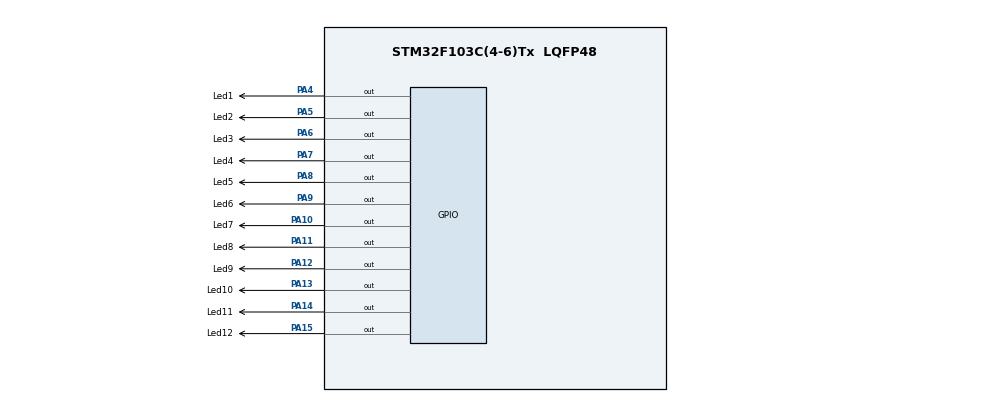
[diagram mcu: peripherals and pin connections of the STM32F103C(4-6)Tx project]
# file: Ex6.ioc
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Mcu.Family=STM32F1
Mcu.Name=STM32F103C(4-6)Tx
Mcu.Package=LQFP48
NVIC.PriorityGroup=NVIC_PRIORITYGROUP_4
PA10.GPIO_Label=Led7
PA10.Signal=GPIO_Output
PA11.GPIO_Label=Led8
PA11.Signal=GPIO_Output
PA12.GPIO_Label=Led9
PA12.Signal=GPIO_Output
PA13.GPIO_Label=Led10
PA13.Signal=GPIO_Output
PA14.GPIO_Label=Led11
PA14.Signal=GPIO_Output
PA15.GPIO_Label=Led12
PA15.Signal=GPIO_Output
PA4.GPIO_Label=Led1
PA4.Signal=GPIO_Output
PA5.GPIO_Label=Led2
PA5.Signal=GPIO_Output
PA6.GPIO_Label=Led3
PA6.Signal=GPIO_Output
PA7.GPIO_Label=Led4
PA7.Signal=GPIO_Output
PA8.GPIO_Label=Led5
PA8.Signal=GPIO_Output
PA9.GPIO_Label=Led6
PA9.Signal=GPIO_Output
ProjectManager.HeapSize=0x200
ProjectManager.StackSize=0x400
ProjectManager.TargetToolchain=STM32CubeIDE
RCC.APB1Freq_Value=8000000
RCC.APB2Freq_Value=8000000
VP_SYS_VS_ND.Mode=No_Debug
board=custom

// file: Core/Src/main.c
/* USER CODE BEGIN Header */
/**
  ******************************************************************************
  * @file           : main.c
  * @brief          : Main program body
  ******************************************************************************
  * @attention
  *
  * <h2><center>&copy; Copyright (c) 2023 STMicroelectronics.
  * All rights reserved.</center></h2>
  *
  * This software component is licensed by ST under BSD 3-Clause license,
  * the "License"; You may not use this file except in compliance with the
  * License. You may obtain a copy of the License at:
  *                        opensource.org/licenses/BSD-3-Clause
  *
  ******************************************************************************
  */
/* USER CODE END Header */
#include "main.h"

void SystemClock_Config(void);
static void MX_GPIO_Init(void);

/* USER CODE BEGIN 0 */
void clearAllClock(void){
	HAL_GPIO_WritePin(Led1_GPIO_Port, Led1_Pin, RESET);
	HAL_GPIO_WritePin(Led2_GPIO_Port, Led2_Pin, RESET);
	HAL_GPIO_WritePin(Led3_GPIO_Port, Led3_Pin, RESET);
	HAL_GPIO_WritePin(Led4_GPIO_Port, Led4_Pin, RESET);
	HAL_GPIO_WritePin(Led5_GPIO_Port, Led5_Pin, RESET);
	HAL_GPIO_WritePin(Led6_GPIO_Port, Led6_Pin, RESET);
	HAL_GPIO_WritePin(Led7_GPIO_Port, Led7_Pin, RESET);
	HAL_GPIO_WritePin(Led8_GPIO_Port, Led8_Pin, RESET);
	HAL_GPIO_WritePin(Led9_GPIO_Port, Led9_Pin, RESET);
	HAL_GPIO_WritePin(Led10_GPIO_Port, Led10_Pin, RESET);
	HAL_GPIO_WritePin(Led11_GPIO_Port, Led11_Pin, RESET);
	HAL_GPIO_WritePin(Led12_GPIO_Port, Led12_Pin, RESET);
}
void LedTesting(void){
	clearAllClock();
	HAL_Delay(1000);
	HAL_GPIO_WritePin(Led12_GPIO_Port, Led12_Pin, SET);
	HAL_Delay(400);
	HAL_GPIO_WritePin(Led1_GPIO_Port, Led1_Pin, SET);
	HAL_Delay(400);
	HAL_GPIO_WritePin(Led2_GPIO_Port, Led2_Pin, SET);
	HAL_Delay(400);
	HAL_GPIO_WritePin(Led3_GPIO_Port, Led3_Pin, SET);
	HAL_Delay(400);
	HAL_GPIO_WritePin(Led4_GPIO_Port, Led4_Pin, SET);
	HAL_Delay(400);
	HAL_GPIO_WritePin(Led5_GPIO_Port, Led5_Pin, SET);
	HAL_Delay(400);
	HAL_GPIO_WritePin(Led6_GPIO_Port, Led6_Pin, SET);
	HAL_Delay(400);
	HAL_GPIO_WritePin(Led7_GPIO_Port, Led7_Pin, SET);
	HAL_Delay(400);
	HAL_GPIO_WritePin(Led8_GPIO_Port, Led8_Pin, SET);
	HAL_Delay(400);
	HAL_GPIO_WritePin(Led9_GPIO_Port, Led9_Pin, SET);
	HAL_Delay(400);
	HAL_GPIO_WritePin(Led10_GPIO_Port, Led10_Pin, SET);
	HAL_Delay(400);
	HAL_GPIO_WritePin(Led11_GPIO_Port, Led11_Pin, SET);
	HAL_Delay(1000);
}
void setNumberOnClock(int num){
	if(num == 1){
		HAL_GPIO_WritePin(Led1_GPIO_Port, Led1_Pin, SET);
	}
	if (num == 2){
		HAL_GPIO_WritePin(Led2_GPIO_Port, Led2_Pin, SET);
	}
	if (num ==3){
		HAL_GPIO_WritePin(Led3_GPIO_Port, Led3_Pin, SET);
	}
	if (num ==4){
		HAL_GPIO_WritePin(Led4_GPIO_Port, Led4_Pin, SET);
	}
	if (num ==5){
		HAL_GPIO_WritePin(Led5_GPIO_Port, Led5_Pin, SET);
	}
	if (num ==6){
		HAL_GPIO_WritePin(Led6_GPIO_Port, Led6_Pin, SET);
	}
	if (num ==7){
		HAL_GPIO_WritePin(Led7_GPIO_Port, Led7_Pin, SET);
	}
	if (num ==8){
		HAL_GPIO_WritePin(Led8_GPIO_Port, Led8_Pin, SET);
	}
	if (num ==9){
		HAL_GPIO_WritePin(Led9_GPIO_Port, Led9_Pin, SET);
	}
	if (num ==10){
		HAL_GPIO_WritePin(Led10_GPIO_Port, Led10_Pin, SET);
	}
	if (num ==11){
		HAL_GPIO_WritePin(Led11_GPIO_Port, Led11_Pin, SET);
	}
	if (num <= 0) {
		HAL_GPIO_WritePin(Led12_GPIO_Port, Led12_Pin, SET);
	}
	if (num >= 12) {
		HAL_GPIO_WritePin(Led12_GPIO_Port, Led12_Pin, SET);
	}
}

void clearNumberOnClock(int num){
	if(num == 1){
		HAL_GPIO_WritePin(Led1_GPIO_Port, Led1_Pin, RESET);
	}
	if (num ==2){
		HAL_GPIO_WritePin(Led2_GPIO_Port, Led2_Pin, RESET);
	}
	if (num ==3){
		HAL_GPIO_WritePin(Led3_GPIO_Port, Led3_Pin, RESET);
	}
	if (num ==4){
		HAL_GPIO_WritePin(Led4_GPIO_Port, Led4_Pin, RESET);
	}
	if (num ==5){
		HAL_GPIO_WritePin(Led5_GPIO_Port, Led5_Pin, RESET);
	}
	if (num ==6){
		HAL_GPIO_WritePin(Led6_GPIO_Port, Led6_Pin, RESET);
	}
	if (num ==7){
		HAL_GPIO_WritePin(Led7_GPIO_Port, Led7_Pin, RESET);
	}
	if (num ==8){
		HAL_GPIO_WritePin(Led8_GPIO_Port, Led8_Pin, RESET);
	}
	if (num ==9){
		HAL_GPIO_WritePin(Led9_GPIO_Port, Led9_Pin, RESET);
	}
	if (num ==10){
		HAL_GPIO_WritePin(Led10_GPIO_Port, Led10_Pin, RESET);
	}
	if (num ==11){
		HAL_GPIO_WritePin(Led11_GPIO_Port, Led11_Pin, RESET);
	}
	if (num <=0){
		HAL_GPIO_WritePin(Led12_GPIO_Port, Led12_Pin, RESET);
	}
	if(num >= 12){
		HAL_GPIO_WritePin(Led12_GPIO_Port, Led12_Pin, RESET);
	}
}
/* USER CODE END 0 */

int main(void)
{

  /* MCU Configuration--------------------------------------------------------*/

  /* Reset of all peripherals, Initializes the Flash interface and the Systick. */
  HAL_Init();

  /* Configure the system clock */
  SystemClock_Config();

  /* Initialize all configured peripherals */
  MX_GPIO_Init();

  /* Infinite loop */
  /* USER CODE BEGIN WHILE */
  int sec=0;
  int min=0;
  int hr=0;

  while (1)
  {
	  if(sec >= 60){
		  min++;
		  sec=0;
	  }
	  if(min >= 60){
		  hr++;
		  min=0;
	  }
	  if(hr > 11){
		  hr=0;
	  }
	  clearAllClock();
	  setNumberOnClock(sec/5);
	  setNumberOnClock(min/5);
	  setNumberOnClock(hr);
	  sec++;
	  HAL_Delay(1000);
    /* USER CODE END WHILE */

  }
}

void SystemClock_Config(void)
{
  RCC_OscInitTypeDef RCC_OscInitStruct = {0};
  RCC_ClkInitTypeDef RCC_ClkInitStruct = {0};

  /** Initializes the RCC Oscillators according to the specified parameters
  * in the RCC_OscInitTypeDef structure.
  */
  RCC_OscInitStruct.OscillatorType = RCC_OSCILLATORTYPE_HSI;
  RCC_OscInitStruct.HSIState = RCC_HSI_ON;
  RCC_OscInitStruct.HSICalibrationValue = RCC_HSICALIBRATION_DEFAULT;
  RCC_OscInitStruct.PLL.PLLState = RCC_PLL_NONE;
  if (HAL_RCC_OscConfig(&RCC_OscInitStruct) != HAL_OK)
  {
    Error_Handler();
  }
  /** Initializes the CPU, AHB and APB buses clocks
  */
  RCC_ClkInitStruct.ClockType = RCC_CLOCKTYPE_HCLK|RCC_CLOCKTYPE_SYSCLK
                              |RCC_CLOCKTYPE_PCLK1|RCC_CLOCKTYPE_PCLK2;
  RCC_ClkInitStruct.SYSCLKSource = RCC_SYSCLKSOURCE_HSI;
  RCC_ClkInitStruct.AHBCLKDivider = RCC_SYSCLK_DIV1;
  RCC_ClkInitStruct.APB1CLKDivider = RCC_HCLK_DIV1;
  RCC_ClkInitStruct.APB2CLKDivider = RCC_HCLK_DIV1;

  if (HAL_RCC_ClockConfig(&RCC_ClkInitStruct, FLASH_LATENCY_0) != HAL_OK)
  {
    Error_Handler();
  }
}

static void MX_GPIO_Init(void)
{
  GPIO_InitTypeDef GPIO_InitStruct = {0};

  /* GPIO Ports Clock Enable */
  __HAL_RCC_GPIOA_CLK_ENABLE();

  /*Configure GPIO pin Output Level */
  HAL_GPIO_WritePin(GPIOA, Led1_Pin|Led2_Pin|Led3_Pin|Led4_Pin
                          |Led5_Pin|Led6_Pin|Led7_Pin|Led8_Pin
                          |Led9_Pin|Led10_Pin|Led11_Pin|Led12_Pin, GPIO_PIN_RESET);

  /*Configure GPIO pins : Led1_Pin Led2_Pin Led3_Pin Led4_Pin
                           Led5_Pin Led6_Pin Led7_Pin Led8_Pin
                           Led9_Pin Led10_Pin Led11_Pin Led12_Pin */
  GPIO_InitStruct.Pin = Led1_Pin|Led2_Pin|Led3_Pin|Led4_Pin
                          |Led5_Pin|Led6_Pin|Led7_Pin|Led8_Pin
                          |Led9_Pin|Led10_Pin|Led11_Pin|Led12_Pin;
  GPIO_InitStruct.Mode = GPIO_MODE_OUTPUT_PP;
  GPIO_InitStruct.Pull = GPIO_NOPULL;
  GPIO_InitStruct.Speed = GPIO_SPEED_FREQ_LOW;
  HAL_GPIO_Init(GPIOA, &GPIO_InitStruct);

}

void Error_Handler(void)
{
  __disable_irq();
  while (1)
  {
  }
}

/************************ (C) COPYRIGHT STMicroelectronics *****END OF FILE****/
